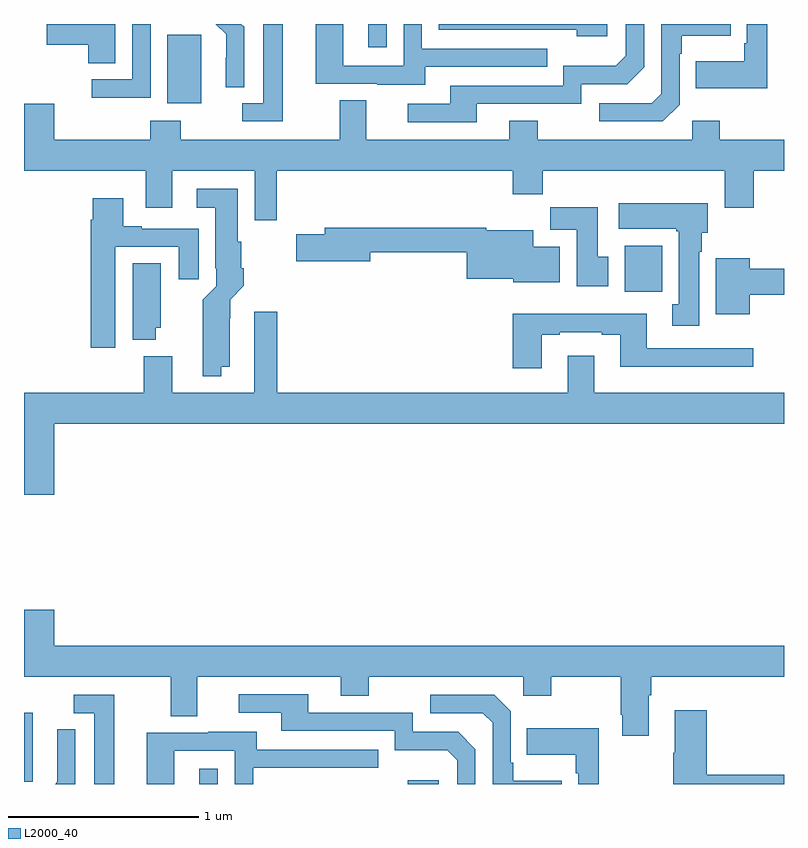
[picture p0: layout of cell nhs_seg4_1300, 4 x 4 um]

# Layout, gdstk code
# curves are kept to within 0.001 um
import gdstk
lib = gdstk.Library(unit=1e-6, precision=1e-09)
def R(c, l, rs):  # rectangles x0, y0, x1, y1
    for r in rs: c.add(gdstk.rectangle(r[:2], r[2:], *l))
def P(c, l, *ps):  # polygons
    for p in ps: c.add(gdstk.Polygon(p, *l))
L2000_40 = (2000, 40)

nhs_seg4_1300 = lib.new_cell('nhs_seg4_1300')
R(nhs_seg4_1300, L2000_40, [(177.923,818.9,178.02,818.98), (179.021,818.9,179.182,818.92), (177,818.913,177.046,819.274), (180.161,821.492,180.358,821.734), (177.755,822.482,177.934,822.843), (178.811,822.777,178.908,822.9)])
P(nhs_seg4_1300, L2000_40, [(177.481,822.9),(177.12,822.9),(177.12,822.79),(177.338,822.79),(177.338,822.694),(177.481,822.694)],
  [(178.363,822.9),(178.259,822.9),(178.259,822.483),(178.149,822.483),(178.149,822.387),(178.363,822.387)],
  [(179.383,822.48),(179.934,822.48),(179.934,822.582),(180.174,822.582),(180.264,822.672),(180.264,822.9),(180.168,822.9),(180.168,822.732),(180.115,822.679),(179.838,822.679),(179.838,822.576),(179.243,822.576),(179.243,822.48),(179.019,822.48),(179.019,822.384),(179.383,822.384)],
  [(180.45,822.474),(180.45,822.743),(180.463,822.743),(180.463,822.839),(180.719,822.839),(180.719,822.9),(180.354,822.9),(180.354,822.534),(180.303,822.483),(180.027,822.483),(180.027,822.387),(180.363,822.387)],
  [(180.07,822.9),(179.184,822.9),(179.184,822.87),(179.909,822.87),(179.909,822.836),(180.07,822.836)],
  [(178.158,822.886),(178.144,822.9),(178.008,822.9),(178.064,822.845),(178.064,822.722),(178.062,822.722),(178.062,822.568),(178.158,822.568)],
  [(177.666,822.9),(177.57,822.9),(177.57,822.609),(177.357,822.609),(177.357,822.511),(177.666,822.511)],
  [(180.913,822.9),(180.804,822.9),(180.804,822.799),(180.792,822.799),(180.792,822.703),(180.535,822.703),(180.535,822.563),(180.913,822.563)],
  [(179.113,822.675),(179.753,822.675),(179.753,822.771),(179.094,822.771),(179.094,822.9),(178.998,822.9),(178.998,822.681),(178.68,822.681),(178.68,822.9),(178.535,822.9),(178.535,822.585),(178.859,822.585),(178.859,822.581),(179.113,822.581)],
  [(178.331,822.128),(179.573,822.128),(179.573,822.004),(179.729,822.004),(179.729,822.128),(180.689,822.128),(180.689,821.934),(180.842,821.934),(180.842,822.128),(181,822.128),(181,822.292),(180.663,822.292),(180.663,822.391),(180.516,822.391),(180.516,822.292),(179.703,822.292),(179.703,822.391),(179.555,822.391),(179.555,822.292),(178.801,822.292),(178.801,822.5),(178.661,822.5),(178.661,822.292),(177.825,822.292),(177.825,822.391),(177.665,822.391),(177.665,822.292),(177.16,822.292),(177.16,822.481),(177,822.481),(177,822.128),(177.641,822.128),(177.641,821.934),(177.781,821.934),(177.781,822.128),(178.215,822.128),(178.215,821.868),(178.331,821.868)],
  [(178.039,821.096),(178.084,821.096),(178.085,821.45),(178.157,821.522),(178.157,821.614),(178.144,821.614),(178.144,821.754),(178.126,821.754),(178.126,822.034),(177.909,822.034),(177.909,821.933),(178.007,821.933),(178.007,821.614),(178.011,821.614),(178.011,821.52),(177.941,821.45),(177.942,821.045),(178.039,821.045)],
  [(177.481,821.727),(177.815,821.727),(177.815,821.556),(177.919,821.556),(177.919,821.823),(177.619,821.823),(177.619,821.836),(177.523,821.836),(177.523,821.983),(177.362,821.983),(177.362,821.87),(177.35,821.87),(177.35,821.196),(177.481,821.196)],
  [(180.553,821.702),(180.568,821.702),(180.568,821.802),(180.598,821.802),(180.598,821.956),(180.129,821.956),(180.129,821.822),(180.433,821.822),(180.433,821.809),(180.446,821.809),(180.446,821.426),(180.413,821.426),(180.413,821.313),(180.553,821.313)],
  [(180.076,821.676),(180.019,821.676),(180.019,821.935),(179.77,821.935),(179.77,821.816),(179.909,821.816),(179.909,821.52),(180.076,821.52)],
  [(179.821,821.728),(179.68,821.728),(179.68,821.815),(179.434,821.815),(179.434,821.827),(178.583,821.827),(178.583,821.793),(178.434,821.793),(178.434,821.651),(178.822,821.651),(178.822,821.698),(179.33,821.698),(179.33,821.558),(179.574,821.558),(179.574,821.54),(179.821,821.54)],
  [(180.82,821.476),(181,821.476),(181,821.612),(180.82,821.612),(180.82,821.668),(180.641,821.668),(180.641,821.372),(180.82,821.372)],
  [(177.694,821.301),(177.721,821.301),(177.721,821.642),(177.572,821.642),(177.572,821.237),(177.694,821.237)],
  [(177.16,820.796),(181,820.796),(181,820.96),(180.001,820.96),(180.001,821.155),(179.861,821.155),(179.861,820.96),(178.334,820.96),(178.334,821.386),(178.211,821.386),(178.211,820.96),(177.781,820.96),(177.781,821.152),(177.629,821.152),(177.629,820.96),(177,820.96),(177,820.422),(177.16,820.422)],
  [(179.725,821.265),(179.821,821.265),(179.821,821.277),(180.041,821.277),(180.041,821.265),(180.137,821.265),(180.137,821.096),(180.838,821.096),(180.838,821.193),(180.277,821.193),(180.277,821.374),(179.573,821.374),(179.573,821.088),(179.725,821.088)],
  [(180.289,819.368),(180.302,819.368),(180.302,819.464),(181,819.464),(181,819.628),(177.16,819.628),(177.16,819.817),(177,819.817),(177,819.464),(177.773,819.464),(177.773,819.256),(177.913,819.256),(177.913,819.464),(178.667,819.464),(178.667,819.365),(178.815,819.365),(178.815,819.464),(179.628,819.464),(179.628,819.365),(179.775,819.365),(179.775,819.464),(180.142,819.464),(180.142,819.265),(180.149,819.265),(180.149,819.153),(180.289,819.153)],
  [(179.376,819.084),(179.286,819.174),(179.046,819.174),(179.046,819.276),(178.495,819.276),(178.495,819.372),(178.131,819.372),(178.131,819.276),(178.355,819.276),(178.355,819.18),(178.95,819.18),(178.95,819.077),(179.227,819.077),(179.28,819.024),(179.28,818.9),(179.376,818.9)],
  [(179.831,818.917),(179.575,818.917),(179.575,819.013),(179.562,819.013),(179.562,819.282),(179.475,819.369),(179.139,819.369),(179.139,819.273),(179.415,819.273),(179.466,819.222),(179.466,818.9),(179.831,818.9)],
  [(177.475,819.369),(177.261,819.369),(177.261,819.273),(177.371,819.273),(177.371,818.9),(177.475,818.9)],
  [(181,818.948),(180.593,818.948),(180.593,819.289),(180.425,819.289),(180.425,819.065),(180.418,819.065),(180.418,818.9),(181,818.9)],
  [(180.025,819.193),(179.647,819.193),(179.647,819.053),(179.904,819.053),(179.904,818.957),(179.916,818.957),(179.916,818.9),(180.025,818.9)],
  [(177.27,819.188),(177.174,819.188),(177.174,819.034),(177.176,819.034),(177.176,818.912),(177.164,818.9),(177.27,818.9)],
  [(177.792,819.075),(178.11,819.075),(178.11,818.9),(178.206,818.9),(178.206,818.985),(178.865,818.985),(178.865,819.081),(178.225,819.081),(178.225,819.175),(177.971,819.175),(177.971,819.171),(177.647,819.171),(177.647,818.9),(177.792,818.9)])

lib.write_gds('nhs_seg4_1300.gds')
